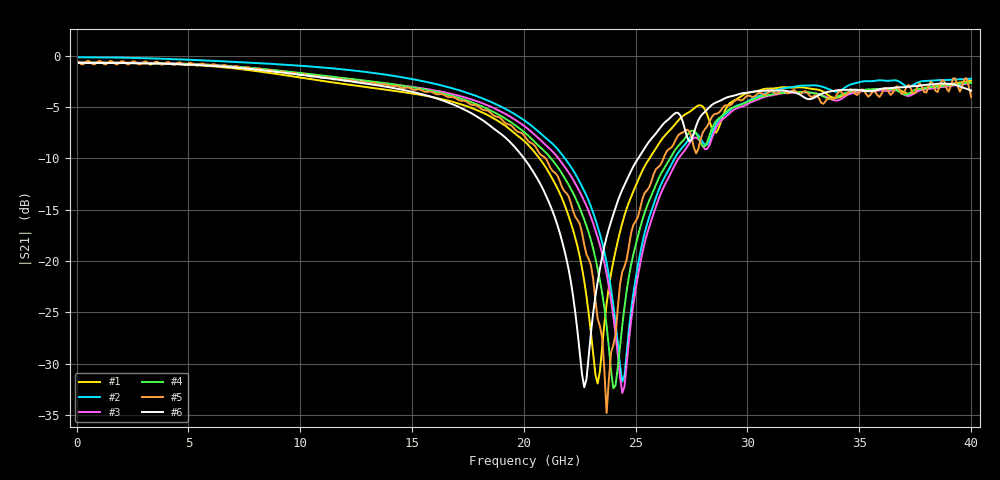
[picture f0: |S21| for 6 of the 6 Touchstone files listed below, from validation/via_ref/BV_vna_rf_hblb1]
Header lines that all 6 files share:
# Hz S RI R 50
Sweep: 100 MHz to 40 GHz
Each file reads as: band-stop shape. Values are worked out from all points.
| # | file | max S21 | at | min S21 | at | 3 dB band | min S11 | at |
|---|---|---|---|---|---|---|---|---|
| 1 | cst.s2p | -0.70 dB | 400 MHz | -31.9 dB | 23.3 GHz | 100 MHz-15 GHz | -22.2 dB | 100 MHz |
| 2 | deembedded.s2p | -0.16 dB | 100 MHz | -31.8 dB | 24.4 GHz | 100 MHz-16.7 GHz | -29.7 dB | 100 MHz |
| 3 | kisi.s2p | -0.67 dB | 100 MHz | -32.9 dB | 24.4 GHz | 100 MHz-16.6 GHz | -22.5 dB | 200 MHz |
| 4 | kisi_base.s2p | -0.69 dB | 300 MHz | -32.4 dB | 24 GHz | 100 MHz-16.3 GHz | -22.3 dB | 200 MHz |
| 5 | openems.s2p | -0.50 dB | 500 MHz | -34.8 dB | 23.7 GHz | 100 MHz-15.5 GHz | -22.4 dB | 100 MHz |
| 6 | openems_base.s2p | -0.71 dB | 100 MHz | -32.3 dB | 22.7 GHz | 100 MHz-15.3 GHz | -22.1 dB | 200 MHz |
